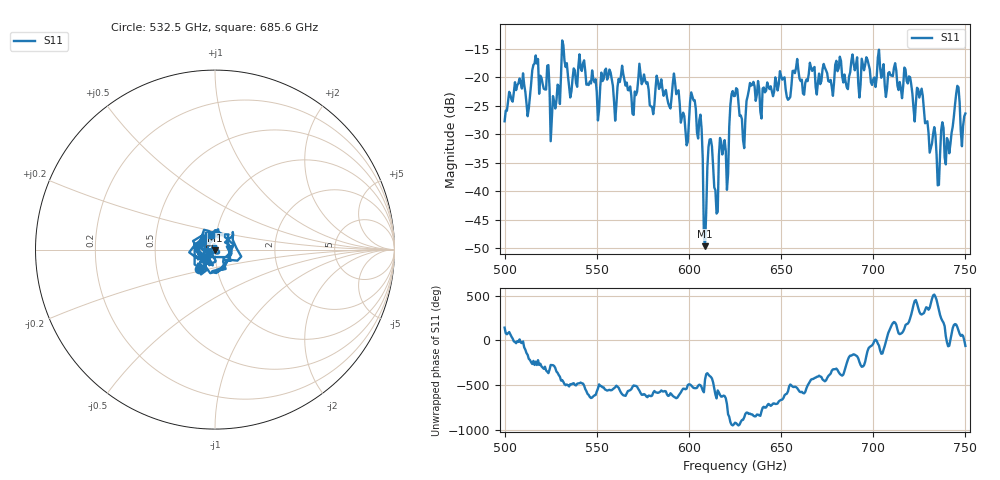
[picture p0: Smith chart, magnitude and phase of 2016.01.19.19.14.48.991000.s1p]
!Created with skrf (http://scikit-rf.org).
# GHz S RI R 50.0
!freq ReS11 ImS11
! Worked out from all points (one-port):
!   401 points, 500 GHz to 750 GHz, reference 50 ohm
!   lowest |S11| = -49.7 dB at 608.8 GHz (marker M1), VSWR 1.01, Z = 50.1 - j0.32 ohm
!   |S11| at or under -10 dB: start of sweep to end of sweep
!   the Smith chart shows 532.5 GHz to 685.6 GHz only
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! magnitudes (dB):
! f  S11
! 500 GHz  -27.7
! 508.8 GHz  -21.0
! 513.1 GHz  -25.5
! 516.9 GHz  -16.2
! 526.2 GHz  -23.3
! 531.2 GHz  -13.6
! 550.6 GHz  -27.6
! 562.5 GHz  -20.9
! 570 GHz  -26.6
! 574.4 GHz  -21.2
! 580 GHz  -25.2
! 593.8 GHz  -22.5
! 598.8 GHz  -32.0
! 602.5 GHz  -24.1
! 606.2 GHz  -26.6
! 608.8 GHz  -49.7
! 611.2 GHz  -30.9
! 615 GHz  -44.0
! 625 GHz  -23.3
! 629.4 GHz  -31.1
! 633.8 GHz  -21.5
! 656.2 GHz  -18.9
! 687.5 GHz  -19.1
! 718.8 GHz  -21.1
! 735 GHz  -39.0
! 740.6 GHz  -31.2
! 745.6 GHz  -21.5
! 750 GHz  -26.4
